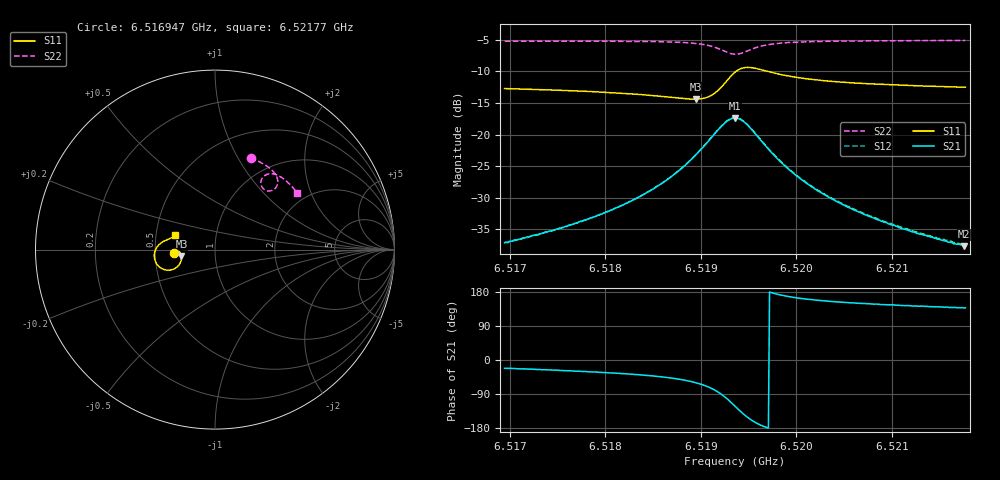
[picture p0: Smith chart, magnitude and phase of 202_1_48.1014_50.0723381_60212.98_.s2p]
#  HZ  S  RI  R  50.00
! Rohde & Schwarz Vector Network Analyzer
! Rohde-Schwarz,ZNB20-2Port,1311601062101988,3.16
! Created: UTC 12/23/2023, 3:54:51 AM
! freq[Hz]  re:S11  im:S11  re:S21  im:S21  re:S12  im:S12  re:S22  im:S22
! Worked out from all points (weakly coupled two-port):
!   401 points, 6.516947 GHz to 6.52177 GHz, reference 50 ohm
!   highest |S21| = -17.37 dB at 6.519358 GHz (marker M1); lowest = -37.6 dB at 6.521758 GHz (marker M2)
!   lowest |S11| = -14.4 dB at 6.518948 GHz (marker M3), VSWR 1.47, Z = 34.1 - j2.62 ohm
!   |S11| at or under -10 dB: start of sweep to 6.519368 GHz; 6.519701 GHz to end of sweep
!   |S22| runs from -7.3 to -5.1 dB; largest |S21 - S12| = 0.0042
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6.5169466e9  -0.2307 -0.018  0.013 -0.00522  0.0131 -0.00471  0.1995 0.5107
6.5173204e9  -0.2267 -0.0124  0.0149 -0.00695  0.015 -0.00658  0.227 0.4995
6.5177545e9  -0.2207 -0.00732  0.0178 -0.0104  0.0182 -0.00974  0.2592 0.4836
6.5181644e9  -0.2128 -0.00486  0.0221 -0.016  0.0228 -0.0152  0.2898 0.4647
6.5185623e9  -0.2014 -0.00934  0.0287 -0.0276  0.0294 -0.0267  0.3206 0.4396
6.5187673e9  -0.1936 -0.0186  0.0328 -0.0398  0.0343 -0.039  0.3361 0.4203
6.5189481e9  -0.1873 -0.037  0.0345 -0.0597  0.0367 -0.059  0.3479 0.395
6.5190446e9  -0.1875 -0.0543  0.0315 -0.0766  0.0341 -0.0761  0.3499 0.3762
6.519129e9  -0.1943 -0.0756  0.0221 -0.0958  0.0251 -0.0958  0.3453 0.3561
6.5192616e9  -0.2363 -0.1109  -0.0209 -0.1239  -0.0173 -0.1254  0.3132 0.3279
6.5193581e9  -0.2929 -0.1073  -0.0715 -0.1148  -0.0686 -0.1179  0.2744 0.3348
6.5194063e9  -0.3175 -0.089  -0.0913 -0.0964  -0.0892 -0.0998  0.2606 0.3506
6.5194666e9  -0.3349 -0.0583  -0.1034 -0.0676  -0.1021 -0.0713  0.2553 0.3741
6.5195631e9  -0.3356 -0.0133  -0.0991 -0.029  -0.0991 -0.0323  0.2671 0.4039
6.5196716e9  -0.32 0.0178  -0.0824 -0.00499  -0.083 -0.00752  0.2897 0.4193
6.5199007e9  -0.2891 0.0443  -0.0536 0.0112  -0.0545 0.00973  0.3293 0.4207
6.520166e9  -0.2679 0.0544  -0.0358 0.0137  -0.0367 0.0128  0.3596 0.4089
6.5205397e9  -0.2508 0.0615  -0.0234 0.0127  -0.0241 0.0123  0.3903 0.3878
6.5209738e9  -0.2388 0.0678  -0.0162 0.0111  -0.0168 0.0109  0.4181 0.3624
6.5213596e9  -0.2308 0.0733  -0.0124 0.00996  -0.0128 0.00967  0.4393 0.339
6.5217575e9  -0.224 0.0787  -0.00961 0.00892  -0.0102 0.0088  0.4589 0.3141
6.5217696e9  -0.2238 0.0788  -0.00972 0.0088  -0.0101 0.00883  0.4595 0.3134
